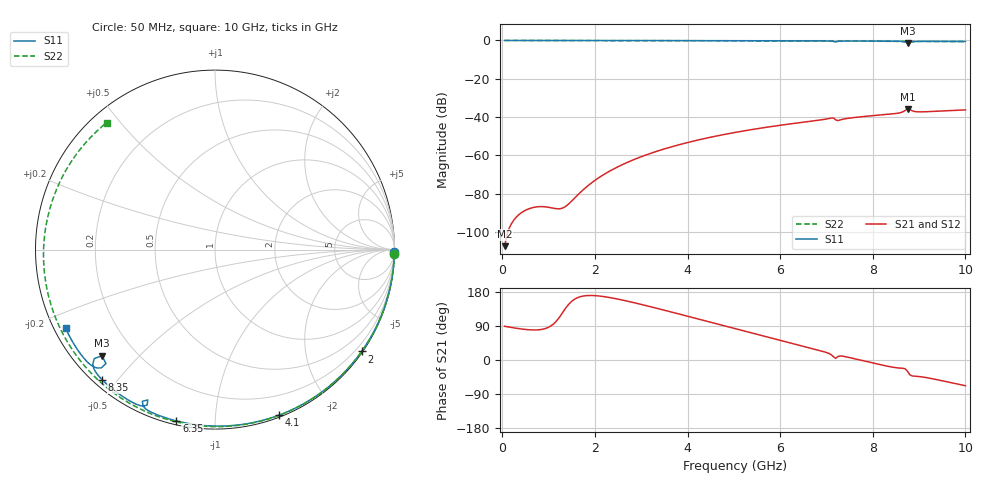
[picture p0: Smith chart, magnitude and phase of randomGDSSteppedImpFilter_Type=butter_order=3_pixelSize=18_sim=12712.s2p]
! freq	dB(S11)	phase(S11)	dB(S12)	phase(S12)
!  dB(S21)	phase(S21)	dB(S22)	phase(S22)
!S-par simulation data
#  GHz  S  DB  R 50
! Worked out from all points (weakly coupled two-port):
!   200 points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, 50 MHz to 10 GHz, reference 50 ohm
!   highest |S21| = -35.74 dB at 8.75 GHz (marker M1); lowest = -107.5 dB at 50 MHz (marker M2)
!   lowest |S11| = -1.3 dB at 8.75 GHz (marker M3), VSWR 13.67, Z = 4.23 - j19.7 ohm
!   |S11| at or under -10 dB: nowhere
!   |S22| runs from -0.6 to 0.0 dB; largest |S21 - S12| = 0
!   S11 on the Smith chart (normalised r, x): 50 MHz: open; 2 GHz: 0.03, -3.20; 4.1 GHz: 0.02, -1.45; 6.35 GHz: 0.02, -0.80; 8.35 GHz: 0.02, -0.46; 10 GHz: 0.03, -0.25
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0.05  -0.00 -0.9  -107.49 88.9  -107.49 88.9  -0.01 -1.3
0.8  -0.02 -14.1  -86.84 79.8  -86.84 79.8  -0.03 -20.7
1.65  -0.04 -28.8  -80.23 165.7  -80.23 165.7  -0.05 -42.2
1.75  -0.04 -30.5  -77.96 168.9  -77.96 168.9  -0.06 -44.7
2  -0.04 -34.8  -73.12 169.9  -73.12 169.9  -0.06 -50.8
2.6  -0.06 -44.8  -64.80 158.0  -64.80 158.0  -0.08 -65.3
3.4  -0.08 -57.9  -57.42 134.5  -57.42 134.5  -0.11 -83.8
4.1  -0.10 -69.0  -52.75 112.3  -52.75 112.3  -0.14 -99.3
5.05  -0.13 -83.6  -47.96 82.0  -47.96 82.0  -0.18 -119.7
6.35  -0.19 -102.7  -43.18 40.9  -43.18 40.9  -0.26 -146.8
6.7  -0.21 -107.8  -42.09 29.9  -42.09 29.9  -0.29 -154.0
7  -0.26 -112.6  -41.05 19.7  -41.05 19.7  -0.31 -160.3
7.15  -0.56 -115.6  -40.48 8.7  -40.48 8.7  -0.33 -163.5
7.25  -0.50 -113.6  -41.88 9.4  -41.88 9.4  -0.34 -165.6
7.55  -0.29 -118.9  -40.41 4.8  -40.41 4.8  -0.36 -172.0
8.35  -0.35 -130.8  -38.55 -17.2  -38.55 -17.2  -0.44 170.5
8.65  -0.59 -136.8  -37.31 -21.9  -37.31 -21.9  -0.48 163.7
8.75  -1.27 -136.8  -35.74 -29.9  -35.74 -29.9  -0.49 161.3
8.8  -1.12 -133.7  -36.03 -39.0  -36.03 -39.0  -0.49 160.2
8.9  -0.61 -135.0  -37.12 -42.6  -37.12 -42.6  -0.50 157.8
9.25  -0.46 -141.3  -37.13 -48.6  -37.13 -48.6  -0.54 149.5
10  -0.53 -152.2  -36.28 -67.9  -36.28 -67.9  -0.63 130.5
